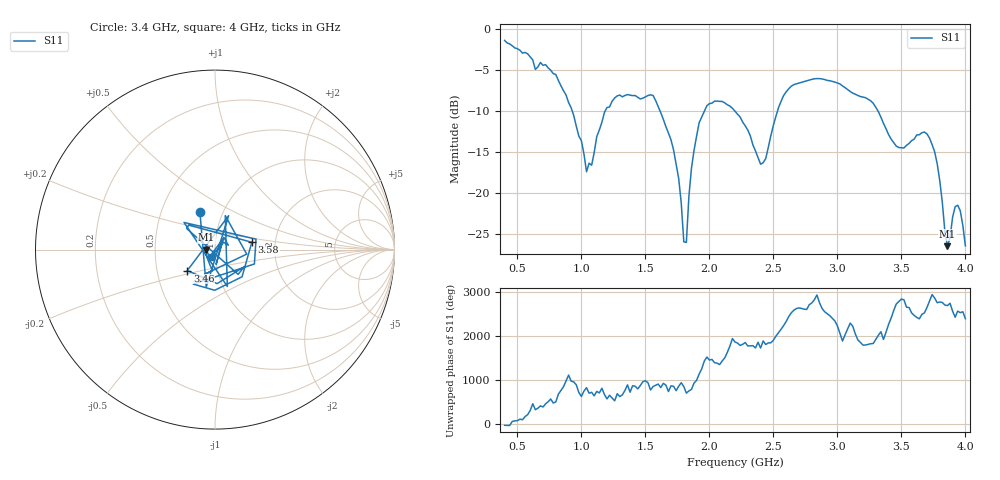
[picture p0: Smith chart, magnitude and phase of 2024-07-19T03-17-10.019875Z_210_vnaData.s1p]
!Created with skrf (http://scikit-rf.org).
# Hz S RI R 50.0
!freq ReS11 ImS11
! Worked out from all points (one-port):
!   181 points, 400 MHz to 4 GHz, reference 50 ohm
!   lowest |S11| = -26.5 dB at 3.86 GHz (marker M1), VSWR 1.10, Z = 45.5 - j0.0193 ohm
!   |S11| at or under -10 dB: 1.615 GHz to 1.96 GHz (345.2 MHz wide, 19.3 % of centre); 2.2 GHz to 2.532 GHz (331.2 MHz wide, 14 % of centre); 3.318 GHz to end of sweep (the widest 3 of 4)
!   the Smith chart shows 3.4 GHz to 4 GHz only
!   S11 on the Smith chart (normalised r, x): 3.4 GHz: 0.78, +0.35; 3.46 GHz: 0.71, -0.17; 3.58 GHz: 1.51, +0.13; 4 GHz: 0.95, -0.08
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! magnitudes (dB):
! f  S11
! 400 MHz  -1.4
! 860 MHz  -7.5
! 1.04 GHz  -17.4
! 1.18 GHz  -10.1
! 1.3 GHz  -8.0
! 1.56 GHz  -8.1
! 1.7 GHz  -13.5
! 1.76 GHz  -18.2
! 1.8 GHz  -25.9
! 1.82 GHz  -26.0
! 1.86 GHz  -16.9
! 1.92 GHz  -11.4
! 2.04 GHz  -8.8
! 2.2 GHz  -10.0
! 2.4 GHz  -16.5
! 2.56 GHz  -8.8
! 2.66 GHz  -6.8
! 3.1 GHz  -7.6
! 3.28 GHz  -9.0
! 3.4 GHz  -12.9
! 3.46 GHz  -14.3
! 3.56 GHz  -13.9
! 3.58 GHz  -13.6
! 3.68 GHz  -12.5
! 3.76 GHz  -15.0
! 3.86 GHz  -26.5
! 3.94 GHz  -21.5
! 4 GHz  -26.4
